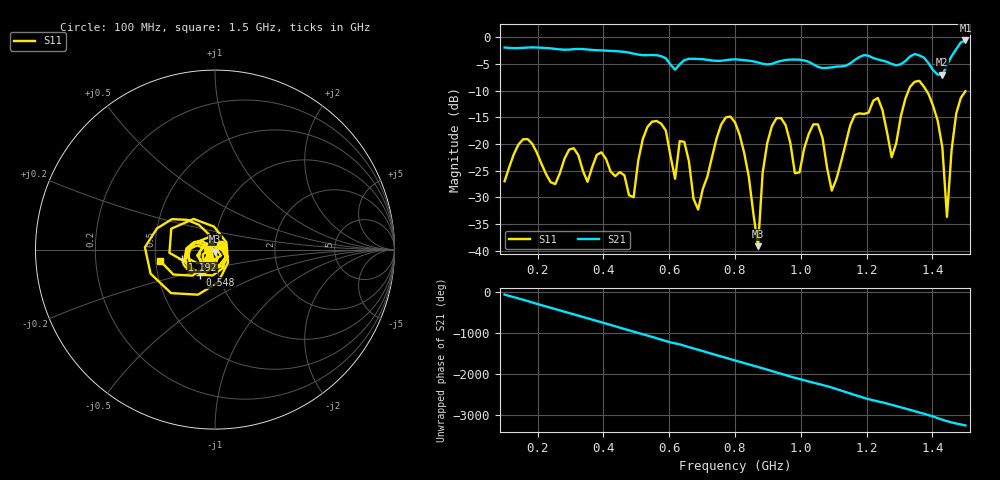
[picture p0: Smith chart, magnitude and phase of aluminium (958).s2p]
! NanoVNA-App
! Date: 2025-09-25 15:02:44
! Start: 100MHz Stop: 1,5GHz Points: 101
! S-Parameter data: F S11 S21 S12 S22
# Hz S RI R 50
!  Frequency  S11_Real  S11_Imag  S21_Real  S21_Imag  S12_Real  S12_Imag  S22_Real  S22_Imag
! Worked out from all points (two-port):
!   101 points, 100 MHz to 1.5 GHz, reference 50 ohm
!   highest |S21| = -0.59 dB at 1.5 GHz (marker M1); lowest = -7.0 dB at 1.43 GHz (marker M2)
!   |S21| within 3 dB of the highest: start of sweep to 578.1 MHz; 1.458 GHz to end of sweep (the widest 2 of 4)
!   lowest |S11| = -39.1 dB at 870 MHz (marker M3), VSWR 1.02, Z = 50.2 - j1.09 ohm
!   |S11| at or under -10 dB: start of sweep to 1.327 GHz; 1.382 GHz to end of sweep
!   S12 and S22 are empty: the file has one direction only
!   S11 on the Smith chart (normalised r, x): 100 MHz: 1.07, +0.06; 548 MHz: 0.82, -0.24; 1.192 GHz: 0.69, -0.08; 1.5 GHz: 0.53, -0.07
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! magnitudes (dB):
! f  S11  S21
! 100 MHz  -27.0  -1.9
! 156 MHz  -19.1  -2.0
! 338 MHz  -25.0  -2.2
! 492 MHz  -30.0  -3.1
! 548 MHz  -15.8  -3.3
! 576 MHz  -16.2  -3.5
! 646 MHz  -19.6  -4.3
! 688 MHz  -32.3  -4.1
! 800 MHz  -15.9  -4.1
! 870 MHz  -39.1  -4.7
! 912 MHz  -16.7  -5.0
! 982 MHz  -25.5  -4.2
! 1.038 GHz  -16.3  -5.1
! 1.094 GHz  -28.7  -5.6
! 1.192 GHz  -14.4  -3.3
! 1.234 GHz  -11.4  -4.2
! 1.276 GHz  -22.5  -5.0
! 1.36 GHz  -8.2  -3.4
! 1.43 GHz  -20.6  -7.0
! 1.444 GHz  -33.6  -5.2
! 1.472 GHz  -14.3  -2.2
! 1.5 GHz  -10.1  -0.6
